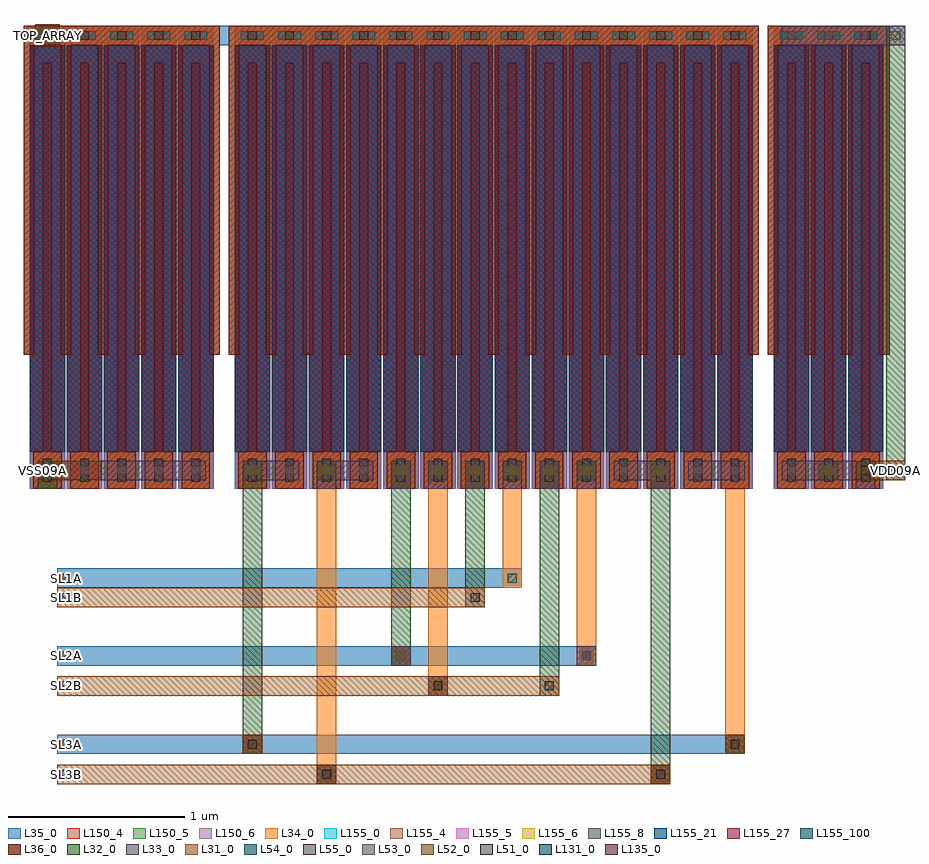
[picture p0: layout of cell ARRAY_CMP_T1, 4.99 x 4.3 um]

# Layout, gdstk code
from math import pi, radians
import gdstk
lib = gdstk.Library(unit=1e-6, precision=1e-09)
def R(c, l, rs):  # rectangles x0, y0, x1, y1
    for r in rs: c.add(gdstk.rectangle(r[:2], r[2:], *l))
def A(c, l, x, y, w, h, nx, ny, dx, dy):  # array of equal rectangles
    R(c, l, [(x+i*dx, y+j*dy, x+i*dx+w, y+j*dy+h) for i in range(nx) for j in range(ny)])
L31_0 = (31, 0)
L32_0 = (32, 0)
L33_0 = (33, 0)
L34_0 = (34, 0)
L35_0 = (35, 0)
L36_0 = (36, 0)
L51_0 = (51, 0)
L52_0 = (52, 0)
L53_0 = (53, 0)
L54_0 = (54, 0)
L55_0 = (55, 0)
L131_0 = (131, 0)
L135_0 = (135, 0)
L150_4 = (150, 4)
L150_5 = (150, 5)
L150_6 = (150, 6)
L155_0 = (155, 0)
L155_4 = (155, 4)
L155_5 = (155, 5)
L155_6 = (155, 6)
L155_8 = (155, 8)
L155_21 = (155, 21)
L155_27 = (155, 27)
L155_100 = (155, 100)

m5_m4_cdns_620183792497 = lib.new_cell('M5_M4_CDNS_620183792497')
R(m5_m4_cdns_620183792497, L34_0, [(-0.07,-0.105,0.07,0.105)])
R(m5_m4_cdns_620183792497, L35_0, [(-0.07,-0.105,0.07,0.105)])
R(m5_m4_cdns_620183792497, L54_0, [(-0.025,-0.065,0.025,0.065)])

m6_m5_cdns_620183792498 = lib.new_cell('M6_M5_CDNS_620183792498')
R(m6_m5_cdns_620183792498, L35_0, [(-0.07,-0.105,0.07,0.105)])
R(m6_m5_cdns_620183792498, L36_0, [(-0.055,-0.105,0.055,0.105)])
R(m6_m5_cdns_620183792498, L55_0, [(-0.025,-0.065,0.025,0.065)])

m5_m4_cdns_620183792499 = lib.new_cell('M5_M4_CDNS_620183792499')
R(m5_m4_cdns_620183792499, L34_0, [(-0.095,-0.055,0.095,0.055)])
R(m5_m4_cdns_620183792499, L35_0, [(-0.12,-0.055,0.12,0.055)])
R(m5_m4_cdns_620183792499, L54_0, [(-0.065,-0.025,0.065,0.025)])

m6_m5_cdns_6201837924910 = lib.new_cell('M6_M5_CDNS_6201837924910')
R(m6_m5_cdns_6201837924910, L35_0, [(-0.055,-0.055,0.055,0.055)])
R(m6_m5_cdns_6201837924910, L36_0, [(-0.055,-0.055,0.055,0.055)])
R(m6_m5_cdns_6201837924910, L55_0, [(-0.025,-0.025,0.025,0.025)])

cu1f = lib.new_cell('CU1F')
R(cu1f, L34_0, [(0.02,0,0.18,0.21), (-0.035,2.51,0.235,2.62)])
R(cu1f, L35_0, [(0.02,0,0.18,0.21), (-0.035,2.51,0.235,2.62)])
R(cu1f, L36_0, [(0.02,0,0.18,0.21), (-0.035,2.51,0.235,2.62)])
R(cu1f, L150_4, [(0,0,0.2,2.62)])
R(cu1f, L150_5, [(0,0,0.2,2.62)])
R(cu1f, L150_6, [(0,0,0.2,2.62)])
R(cu1f, L155_0, [(0,0.21,0.2,2.51)])
R(cu1f, L155_4, [(0,0.21,0.2,2.51)])
R(cu1f, L155_5, [(0,0.21,0.2,2.51)])
R(cu1f, L155_6, [(0,0.21,0.2,2.51)])
R(cu1f, L155_8, [(0,0.21,0.2,2.51)])
R(cu1f, L155_21, [(0,0.21,0.2,2.51)])
R(cu1f, L155_27, [(0,0.21,0.2,2.51)])
R(cu1f, L155_100, [(0,0.21,0.2,2.51)])
cu1f.add(gdstk.FlexPath([(0.205,2.59),(0.205,0.76)], 0.06, ends=(0.03, 0), simple_path=True, layer=34, datatype=0))  # L34_0
cu1f.add(gdstk.FlexPath([(0.1,2.41),(0.1,0)], 0.05, ends="flush", simple_path=True, layer=34, datatype=0))  # L34_0
cu1f.add(gdstk.FlexPath([(-0.005,2.59),(-0.005,0.76)], 0.06, ends=(0.03, 0), simple_path=True, layer=34, datatype=0))  # L34_0
cu1f.add(gdstk.FlexPath([(0.205,0.76),(0.205,2.59)], 0.06, ends=(0, 0.03), simple_path=True, layer=35, datatype=0))  # L35_0
cu1f.add(gdstk.FlexPath([(0.1,2.41),(0.1,0)], 0.05, ends="flush", simple_path=True, layer=35, datatype=0))  # L35_0
cu1f.add(gdstk.FlexPath([(-0.005,0.76),(-0.005,2.59)], 0.06, ends=(0, 0.03), simple_path=True, layer=35, datatype=0))  # L35_0
cu1f.add(gdstk.FlexPath([(0.205,0.76),(0.205,2.59)], 0.06, ends=(0, 0.03), simple_path=True, layer=36, datatype=0))  # L36_0
cu1f.add(gdstk.FlexPath([(0.1,2.41),(0.1,0)], 0.05, ends="flush", simple_path=True, layer=36, datatype=0))  # L36_0
cu1f.add(gdstk.FlexPath([(-0.005,0.76),(-0.005,2.59)], 0.06, ends=(0, 0.03), simple_path=True, layer=36, datatype=0))  # L36_0
cu1f.add(gdstk.Reference(m5_m4_cdns_620183792497, (0.1,0.105), rotation=pi, x_reflection=True))
cu1f.add(gdstk.Reference(m6_m5_cdns_620183792498, (0.1,0.105), rotation=pi, x_reflection=True))
cu1f.add(gdstk.Reference(m5_m4_cdns_620183792499, (0.1,2.565)))
cu1f.add(gdstk.Reference(m6_m5_cdns_6201837924910, (0.1,2.565)))

m2_m1_cdns_620183792490 = lib.new_cell('M2_M1_CDNS_620183792490')
R(m2_m1_cdns_620183792490, L31_0, [(-0.055,-0.055,0.055,0.055)])
R(m2_m1_cdns_620183792490, L32_0, [(-0.055,-0.055,0.055,0.055)])
R(m2_m1_cdns_620183792490, L51_0, [(-0.025,-0.025,0.025,0.025)])

m3_m2_cdns_620183792491 = lib.new_cell('M3_M2_CDNS_620183792491')
R(m3_m2_cdns_620183792491, L32_0, [(-0.055,-0.055,0.055,0.055)])
R(m3_m2_cdns_620183792491, L33_0, [(-0.055,-0.055,0.055,0.055)])
R(m3_m2_cdns_620183792491, L52_0, [(-0.025,-0.025,0.025,0.025)])

m4_m3_cdns_620183792492 = lib.new_cell('M4_M3_CDNS_620183792492')
R(m4_m3_cdns_620183792492, L33_0, [(-0.055,-0.055,0.055,0.055)])
R(m4_m3_cdns_620183792492, L34_0, [(-0.055,-0.055,0.055,0.055)])
R(m4_m3_cdns_620183792492, L53_0, [(-0.025,-0.025,0.025,0.025)])

m4_m3_cdns_620183792493 = lib.new_cell('M4_M3_CDNS_620183792493')
R(m4_m3_cdns_620183792493, L33_0, [(-0.07,-0.065,0.07,0.065)])
R(m4_m3_cdns_620183792493, L34_0, [(-0.055,-0.055,0.055,0.055)])
R(m4_m3_cdns_620183792493, L53_0, [(-0.025,-0.025,0.025,0.025)])

m3_m2_cdns_620183792494 = lib.new_cell('M3_M2_CDNS_620183792494')
R(m3_m2_cdns_620183792494, L32_0, [(-0.065,-0.06,0.065,0.06)])
R(m3_m2_cdns_620183792494, L33_0, [(-0.07,-0.065,0.07,0.065)])
R(m3_m2_cdns_620183792494, L52_0, [(-0.025,-0.025,0.025,0.025)])

m2_m1_cdns_620183792495 = lib.new_cell('M2_M1_CDNS_620183792495')
R(m2_m1_cdns_620183792495, L31_0, [(-0.055,-0.055,0.055,0.055)])
R(m2_m1_cdns_620183792495, L32_0, [(-0.065,-0.06,0.065,0.06)])
R(m2_m1_cdns_620183792495, L51_0, [(-0.025,-0.025,0.025,0.025)])

m5_m4_cdns_620183792496 = lib.new_cell('M5_M4_CDNS_620183792496')
R(m5_m4_cdns_620183792496, L34_0, [(-0.055,-0.055,0.055,0.055)])
R(m5_m4_cdns_620183792496, L35_0, [(-0.055,-0.055,0.055,0.055)])
R(m5_m4_cdns_620183792496, L54_0, [(-0.025,-0.025,0.025,0.025)])

array_cmp_t1 = lib.new_cell('ARRAY_CMP_T1')
R(array_cmp_t1, L31_0, [(-0.055,-1.67,3.415,-1.56), (-0.055,-1.17,2.785,-1.06), (-0.055,-0.67,2.365,-0.56), (-0.165,0.05,0.195,0.16), (4.465,0.05,4.745,0.16), (-0.18,2.5,-0.04,2.63)])
R(array_cmp_t1, L32_0, [(3.305,-1.67,3.415,0.16), (0.995,-1.5,1.105,0.16), (2.675,-1.17,2.785,0.16), (1.835,-1,1.945,0.16), (2.255,-0.67,2.365,0.16), (-0.165,0,-0.055,0.16), (4.465,0.05,4.575,0.16), (4.635,0.05,4.745,2.62)])
A(array_cmp_t1, L33_0, 1.835, 0, 0.11, 0.16, 6, 1, 0.21, 0)
R(array_cmp_t1, L33_0, [(1.415,0,1.525,0.16), (3.305,0,3.415,0.16), (4.465,0,4.575,0.16), (-0.165,0.05,0.785,0.16), (0.995,0.05,1.315,0.16), (1.415,0.05,1.735,0.16), (3.095,0.05,3.415,0.16), (3.515,0.05,3.835,0.16), (4.045,0.05,4.575,0.16), (4.045,2.51,4.745,2.62)])
R(array_cmp_t1, L34_0, [(1.415,-1.67,1.525,0.16), (3.725,-1.5,3.835,0.16), (2.045,-1.17,2.155,0.16), (2.885,-1,2.995,0.16), (2.465,-0.56,2.575,0.16)])
R(array_cmp_t1, L35_0, [(-0.055,-1.5,3.835,-1.39), (-0.055,-1,2.995,-0.89), (-0.055,-0.56,2.575,-0.45), (-0.18,2.51,1.125,2.62)])
A(array_cmp_t1, L131_0, -0.025, -1.64, 0.05, 0.05, 1, 3, 0, 0.5)
R(array_cmp_t1, L131_0, [(-0.165,0.08,-0.115,0.13), (4.665,0.08,4.715,0.13), (-0.135,2.54,-0.085,2.59)])
R(array_cmp_t1, L135_0, [(-0.025,-1.47,0.025,-1.42), (-0.025,-0.97,0.025,-0.92), (-0.025,-0.53,0.025,-0.48)])
array_cmp_t1.add(gdstk.Reference(cu1f, (4,0)))
array_cmp_t1.add(gdstk.Reference(cu1f, (4.21,0)))
array_cmp_t1.add(gdstk.Reference(cu1f, (0.42,0)))
array_cmp_t1.add(gdstk.Reference(cu1f, (0.63,0)))
array_cmp_t1.add(gdstk.Reference(cu1f, (4.42,0)))
array_cmp_t1.add(gdstk.Reference(cu1f, (0.21,0)))
array_cmp_t1.add(gdstk.Reference(cu1f, (0,0)))
array_cmp_t1.add(gdstk.Reference(cu1f, (-0.21,0)))
array_cmp_t1.add(gdstk.Reference(cu1f, (3.68,0)))
array_cmp_t1.add(gdstk.Reference(cu1f, (3.47,0)))
array_cmp_t1.add(gdstk.Reference(cu1f, (3.26,0)))
array_cmp_t1.add(gdstk.Reference(cu1f, (3.05,0)))
array_cmp_t1.add(gdstk.Reference(cu1f, (2.84,0)))
array_cmp_t1.add(gdstk.Reference(cu1f, (2.63,0)))
array_cmp_t1.add(gdstk.Reference(cu1f, (2.42,0)))
array_cmp_t1.add(gdstk.Reference(cu1f, (2.21,0)))
array_cmp_t1.add(gdstk.Reference(cu1f, (2,0)))
array_cmp_t1.add(gdstk.Reference(cu1f, (1.79,0)))
array_cmp_t1.add(gdstk.Reference(cu1f, (1.58,0)))
array_cmp_t1.add(gdstk.Reference(cu1f, (1.37,0)))
array_cmp_t1.add(gdstk.Reference(cu1f, (1.16,0)))
array_cmp_t1.add(gdstk.Reference(cu1f, (0.95,0)))
array_cmp_t1.add(gdstk.Reference(m2_m1_cdns_620183792490, (3.36,-1.615)))
array_cmp_t1.add(gdstk.Reference(m2_m1_cdns_620183792490, (1.05,-1.445)))
array_cmp_t1.add(gdstk.Reference(m2_m1_cdns_620183792490, (4.69,0.105)))
array_cmp_t1.add(gdstk.Reference(m2_m1_cdns_620183792490, (-0.11,0.105)))
array_cmp_t1.add(gdstk.Reference(m2_m1_cdns_620183792490, (1.47,-1.615)))
array_cmp_t1.add(gdstk.Reference(m2_m1_cdns_620183792490, (4.52,0.105)))
array_cmp_t1.add(gdstk.Reference(m2_m1_cdns_620183792490, (2.31,-0.615)))
array_cmp_t1.add(gdstk.Reference(m2_m1_cdns_620183792490, (2.1,-1.115)))
array_cmp_t1.add(gdstk.Reference(m2_m1_cdns_620183792490, (2.73,-1.115)))
array_cmp_t1.add(gdstk.Reference(m2_m1_cdns_620183792490, (3.78,-1.445)))
array_cmp_t1.add(gdstk.Reference(m3_m2_cdns_620183792491, (1.89,-0.945)))
array_cmp_t1.add(gdstk.Reference(m3_m2_cdns_620183792491, (1.05,-1.445)))
array_cmp_t1.add(gdstk.Reference(m3_m2_cdns_620183792491, (3.36,-1.615)))
array_cmp_t1.add(gdstk.Reference(m3_m2_cdns_620183792491, (4.69,2.565)))
array_cmp_t1.add(gdstk.Reference(m3_m2_cdns_620183792491, (1.05,0.105)))
array_cmp_t1.add(gdstk.Reference(m3_m2_cdns_620183792491, (1.47,0.105)))
array_cmp_t1.add(gdstk.Reference(m3_m2_cdns_620183792491, (1.89,0.105)))
array_cmp_t1.add(gdstk.Reference(m3_m2_cdns_620183792491, (2.1,0.105)))
array_cmp_t1.add(gdstk.Reference(m3_m2_cdns_620183792491, (2.31,0.105)))
array_cmp_t1.add(gdstk.Reference(m3_m2_cdns_620183792491, (2.52,0.105)))
array_cmp_t1.add(gdstk.Reference(m3_m2_cdns_620183792491, (2.73,0.105)))
array_cmp_t1.add(gdstk.Reference(m3_m2_cdns_620183792491, (2.94,0.105)))
array_cmp_t1.add(gdstk.Reference(m3_m2_cdns_620183792491, (3.36,0.105)))
array_cmp_t1.add(gdstk.Reference(m3_m2_cdns_620183792491, (4.52,0.105)))
array_cmp_t1.add(gdstk.Reference(m3_m2_cdns_620183792491, (-0.11,0.105)))
array_cmp_t1.add(gdstk.Reference(m3_m2_cdns_620183792491, (4.31,0.105)))
array_cmp_t1.add(gdstk.Reference(m3_m2_cdns_620183792491, (1.47,-1.615)))
array_cmp_t1.add(gdstk.Reference(m3_m2_cdns_620183792491, (2.1,-1.115)))
array_cmp_t1.add(gdstk.Reference(m3_m2_cdns_620183792491, (3.78,-1.445)))
array_cmp_t1.add(gdstk.Reference(m4_m3_cdns_620183792492, (3.36,-1.615)))
array_cmp_t1.add(gdstk.Reference(m4_m3_cdns_620183792492, (1.68,0.105)))
array_cmp_t1.add(gdstk.Reference(m4_m3_cdns_620183792492, (1.05,-1.445)))
array_cmp_t1.add(gdstk.Reference(m4_m3_cdns_620183792492, (4.51,2.565), rotation=pi, x_reflection=True))
array_cmp_t1.add(gdstk.Reference(m4_m3_cdns_620183792492, (4.1,2.565), rotation=pi, x_reflection=True))
array_cmp_t1.add(gdstk.Reference(m4_m3_cdns_620183792492, (1.05,0.105)))
array_cmp_t1.add(gdstk.Reference(m4_m3_cdns_620183792492, (1.26,0.105)))
array_cmp_t1.add(gdstk.Reference(m4_m3_cdns_620183792492, (1.47,0.105)))
array_cmp_t1.add(gdstk.Reference(m4_m3_cdns_620183792492, (1.89,0.105)))
array_cmp_t1.add(gdstk.Reference(m4_m3_cdns_620183792492, (2.1,0.105)))
array_cmp_t1.add(gdstk.Reference(m4_m3_cdns_620183792492, (2.31,0.105)))
array_cmp_t1.add(gdstk.Reference(m4_m3_cdns_620183792492, (2.52,0.105)))
array_cmp_t1.add(gdstk.Reference(m4_m3_cdns_620183792492, (2.73,0.105)))
array_cmp_t1.add(gdstk.Reference(m4_m3_cdns_620183792492, (2.94,0.105)))
array_cmp_t1.add(gdstk.Reference(m4_m3_cdns_620183792492, (3.15,0.105)))
array_cmp_t1.add(gdstk.Reference(m4_m3_cdns_620183792492, (3.36,0.105)))
array_cmp_t1.add(gdstk.Reference(m4_m3_cdns_620183792492, (3.57,0.105)))
array_cmp_t1.add(gdstk.Reference(m4_m3_cdns_620183792492, (3.78,0.105)))
array_cmp_t1.add(gdstk.Reference(m4_m3_cdns_620183792492, (4.52,0.105)))
array_cmp_t1.add(gdstk.Reference(m4_m3_cdns_620183792492, (1.47,-1.615)))
array_cmp_t1.add(gdstk.Reference(m4_m3_cdns_620183792492, (0.1,0.105)))
array_cmp_t1.add(gdstk.Reference(m4_m3_cdns_620183792492, (0.31,0.105)))
array_cmp_t1.add(gdstk.Reference(m4_m3_cdns_620183792492, (-0.11,0.105)))
array_cmp_t1.add(gdstk.Reference(m4_m3_cdns_620183792492, (0.73,0.105)))
array_cmp_t1.add(gdstk.Reference(m4_m3_cdns_620183792492, (0.52,0.105)))
array_cmp_t1.add(gdstk.Reference(m4_m3_cdns_620183792492, (4.1,0.105)))
array_cmp_t1.add(gdstk.Reference(m4_m3_cdns_620183792492, (4.31,0.105)))
array_cmp_t1.add(gdstk.Reference(m4_m3_cdns_620183792492, (4.31,2.565), rotation=pi, x_reflection=True))
array_cmp_t1.add(gdstk.Reference(m4_m3_cdns_620183792492, (3.78,-1.445)))
array_cmp_t1.add(gdstk.Reference(m4_m3_cdns_620183792492, (1.89,-0.945)))
array_cmp_t1.add(gdstk.Reference(m4_m3_cdns_620183792492, (2.94,-0.945)))
array_cmp_t1.add(gdstk.Reference(m4_m3_cdns_620183792492, (2.1,-1.115)))
array_cmp_t1.add(gdstk.Reference(m4_m3_cdns_620183792493, (-0.11,2.565)))
array_cmp_t1.add(gdstk.Reference(m3_m2_cdns_620183792494, (-0.11,2.565)))
array_cmp_t1.add(gdstk.Reference(m2_m1_cdns_620183792495, (-0.11,2.565)))
array_cmp_t1.add(gdstk.Reference(m5_m4_cdns_620183792496, (1.89,-0.945)))
array_cmp_t1.add(gdstk.Reference(m5_m4_cdns_620183792496, (2.94,-0.945)))
array_cmp_t1.add(gdstk.Reference(m5_m4_cdns_620183792496, (2.52,-0.505)))
array_cmp_t1.add(gdstk.Reference(m5_m4_cdns_620183792496, (3.78,-1.445)))
array_cmp_t1.add(gdstk.Reference(m5_m4_cdns_620183792496, (1.47,-1.615)))
array_cmp_t1.add(gdstk.Reference(m5_m4_cdns_620183792496, (3.36,-1.615)))
array_cmp_t1.add(gdstk.Reference(m5_m4_cdns_620183792496, (1.05,-1.445)))
array_cmp_t1.add(gdstk.Label('SL3A', (0,-1.445), layer=135, texttype=0))
array_cmp_t1.add(gdstk.Label('SL2A', (0,-0.945), layer=135, texttype=0))
array_cmp_t1.add(gdstk.Label('SL1A', (0,-0.505), layer=135, texttype=0))
array_cmp_t1.add(gdstk.Label('VDD09A', (4.69,0.105), layer=131, texttype=0))
array_cmp_t1.add(gdstk.Label('SL1B', (0,-0.615), layer=131, texttype=0))
array_cmp_t1.add(gdstk.Label('VSS09A', (-0.14,0.105), layer=131, texttype=0))
array_cmp_t1.add(gdstk.Label('SL2B', (0,-1.115), layer=131, texttype=0))
array_cmp_t1.add(gdstk.Label('TOP_ARRAY', (-0.112,2.565), layer=131, texttype=0))
array_cmp_t1.add(gdstk.Label('SL3B', (0,-1.615), layer=131, texttype=0))

lib.write_gds('ARRAY_CMP_T1.gds')
